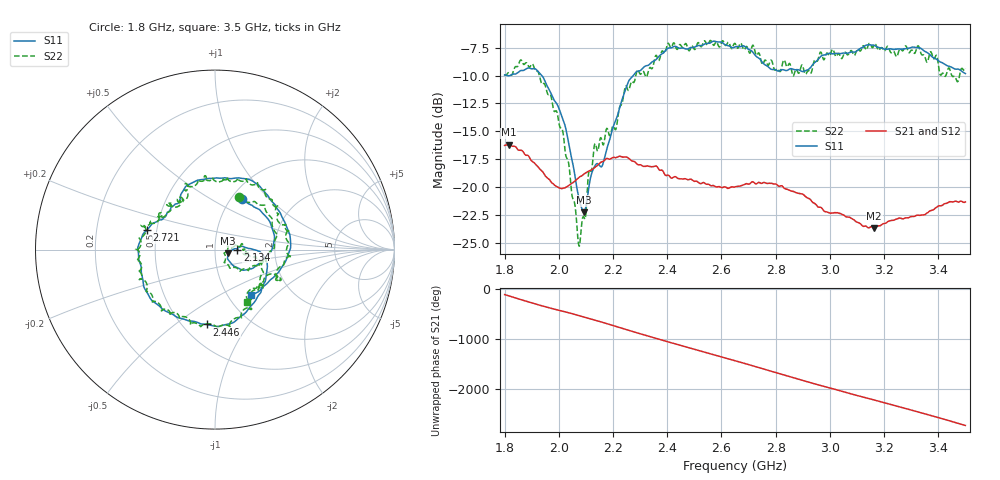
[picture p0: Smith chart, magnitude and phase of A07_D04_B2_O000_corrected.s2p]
! Created with skrf 1.9.0 (http://scikit-rf.org).
# Hz S RI R 50.0
!freq ReS11 ImS11 ReS21 ImS21 ReS12 ImS12 ReS22 ImS22
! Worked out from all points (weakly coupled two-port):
!   1601 points, 1.8 GHz to 3.5 GHz, reference 50 ohm
!   highest |S21| = -16.21 dB at 1.816 GHz (marker M1); lowest = -23.7 dB at 3.163 GHz (marker M2)
!   lowest |S11| = -22.3 dB at 2.093 GHz (marker M3), VSWR 1.17, Z = 57.9 - j2.51 ohm
!   |S11| at or under -10 dB: 1.811166 GHz to 1.818755 GHz (7.589 MHz wide, 0.418 % of centre); 1.938 GHz to 2.274 GHz (336.6 MHz wide, 16 % of centre)
!   |S22| runs from -25.3 to -6.8 dB; largest |S21 - S12| = 0.0025
!   S11 on the Smith chart (normalised r, x): 1.8 GHz: 1.13, +0.70; 2.134 GHz: 1.28, +0.00; 2.446 GHz: 0.65, -0.66; 2.721 GHz: 0.44, +0.11; 3.5 GHz: 1.27, -0.72
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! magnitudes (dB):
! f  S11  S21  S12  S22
! 1.8 GHz  -9.9  -16.3  -16.3  -9.9
! 1.816 GHz  -10.0  -16.2  -16.2  -9.7
! 1.903 GHz  -9.4  -17.7  -17.7  -9.0
! 1.968 GHz  -11.4  -19.4  -19.5  -11.7
! 2.015 GHz  -13.9  -20.1  -20.1  -15.0
! 2.072 GHz  -20.8  -19.2  -19.2  -25.0
! 2.084 GHz  -21.9  -19.0  -19.0  -23.5
! 2.093 GHz  -22.3  -18.8  -18.9  -22.7
! 2.134 GHz  -18.1  -18.2  -18.2  -16.1
! 2.163 GHz  -17.9  -17.7  -17.6  -16.2
! 2.26 GHz  -10.4  -17.5  -17.5  -11.2
! 2.367 GHz  -8.3  -18.4  -18.3  -8.6
! 2.446 GHz  -7.5  -19.3  -19.3  -7.2
! 2.65 GHz  -7.4  -20.0  -20.0  -7.1
! 2.721 GHz  -8.1  -19.6  -19.5  -7.6
! 2.804 GHz  -9.5  -19.8  -19.8  -9.4
! 2.934 GHz  -9.1  -21.3  -21.3  -9.6
! 3.163 GHz  -7.3  -23.7  -23.7  -7.3
! 3.217 GHz  -7.6  -23.1  -23.0  -7.5
! 3.327 GHz  -7.5  -22.5  -22.5  -7.3
! 3.468 GHz  -9.4  -21.3  -21.3  -10.5
! 3.5 GHz  -9.8  -21.3  -21.3  -9.3
